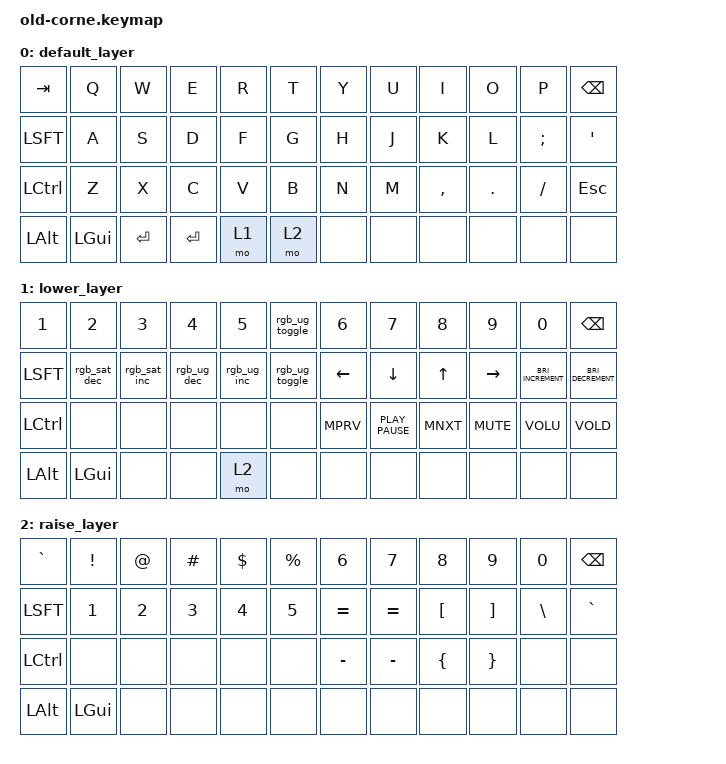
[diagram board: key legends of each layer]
/*
 * Copyright (c) 2020 The ZMK Contributors
 *
 * SPDX-License-Identifier: MIT
 */

#include <behaviors.dtsi>
#include <dt-bindings/zmk/keys.h>
#include <dt-bindings/zmk/bt.h>

/ {
        keymap {
                compatible = "zmk,keymap";

        default_layer {
            bindings = <
                &kp TAB    &kp Q      &kp W      &kp E      &kp R      &kp T      &kp Y      &kp U      &kp I      &kp O      &kp P      &kp BSPC
                &kp LSFT   &kp A      &kp S      &kp D      &kp F      &kp G      &kp H      &kp J      &kp K      &kp L      &kp SEMI   &kp APOSTROPHE
                &kp LCTL   &kp Z      &kp X      &kp C      &kp V      &kp B      &kp N      &kp M      &kp COMMA  &kp DOT    &kp SLASH  &kp ESC
                &kp LALT   &kp LGUI   &kp RET    &kp RET    &mo 1      &mo 2      &none      &none      &none      &none      &none      &none
            >;
        };
        lower_layer {
            bindings = <
                &kp N1     &kp N2         &kp N3         &kp N4         &kp N5         &rgb_ug_toggle  &kp N6     &kp N7         &kp N8     &kp N9     &kp N0     &kp BSPC
                &kp LSFT   &rgb_sat_dec   &rgb_sat_inc   &rgb_ug_dec    &rgb_ug_inc    &rgb_ug_toggle  &kp LEFT   &kp DOWN       &kp UP     &kp RIGHT  &kp C_BRIGHTNESS_INCREMENT &kp C_BRIGHTNESS_DECREMENT
                &kp LCTL   &none          &none          &none          &none          &none           &kp MPRV   &kp PLAY_PAUSE &kp MNXT   &kp MUTE   &kp VOLU   &kp VOLD
                &kp LALT   &kp LGUI       &none          &none          &mo 2          &none           &none      &none         &none      &none      &none      &none
            >;
        };
        raise_layer {
            bindings = <
                &kp GRAVE  &kp EXCLAMATION &kp AT        &kp HASH      &kp DOLLAR    &kp PERCENT    &kp N6         &kp N7          &kp N8      &kp N9       &kp N0       &kp BSPC
                &kp LSFT   &kp N1          &kp N2        &kp N3        &kp N4        &kp N5         &kp EQUAL      &kp EQUAL       &kp LBKT   &kp RBKT    &kp BSLH     &kp GRAVE
                &kp LCTL   &none           &none         &none         &none         &none          &kp MINUS      &kp MINUS       &kp LBRC   &kp RBRC    &none        &none
                &kp LALT   &kp LGUI        &none         &none         &none         &none          &none          &none           &none      &none      &none       &none
            >;
        };
        };
};
